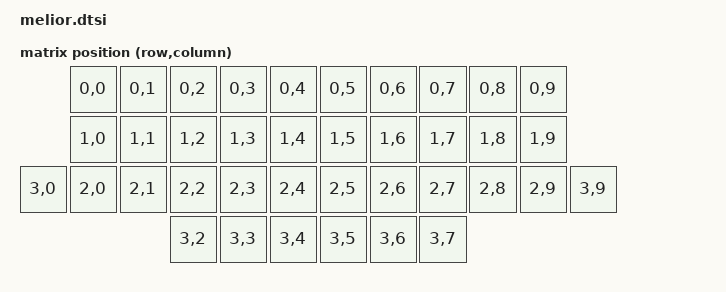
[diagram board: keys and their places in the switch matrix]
#include "melior-layouts.dtsi"
#include <input/processors.dtsi>
#include <dt-bindings/zmk/input_transform.h>
#include <dt-bindings/zmk/matrix_transform.h>
#include <physical_layouts.dtsi>

/ {
    default_transform: keymap_transform_0 {
        compatible = "zmk,matrix-transform";
        columns = <10>;
        rows = <4>;
//             | SW01  | SW02  | SW03  | SW04  | SW05  |  | SW05  | SW04  | SW03  | SW02  | SW01  |
//             | SW06  | SW07  | SW08  | SW09  | SW10  |  | SW10  | SW09  | SW08  | SW07  | SW06  | 
//      | SW16 | SW11  | SW12  | SW13  | SW14  | SW15  |  | SW15  | SW14  | SW13  | SW12  | SW11  | SW16  |
//                             | SW17  | SW18  | SW19  |  | SW19  | SW18  | SW17  | 
        map = <
                RC(0,0) RC(0,1) RC(0,2) RC(0,3) RC(0,4)    RC(0,5) RC(0,6) RC(0,7) RC(0,8) RC(0,9)
                RC(1,0) RC(1,1) RC(1,2) RC(1,3) RC(1,4)    RC(1,5) RC(1,6) RC(1,7) RC(1,8) RC(1,9)
        RC(3,0) RC(2,0) RC(2,1) RC(2,2) RC(2,3) RC(2,4)    RC(2,5) RC(2,6) RC(2,7) RC(2,8) RC(2,9) RC(3,9)
                                RC(3,2) RC(3,3) RC(3,4)    RC(3,5) RC(3,6) RC(3,7)         
        >;
    };
};

&default_layout {
    transform = <&default_transform>;        
};

// Input devices
/ {
    split_inputs {
        #address-cells = <1>;
        #size-cells = <0>;

        glidepoint_split_left: glidepoint_split_left@0 {
            compatible = "zmk,input-split";
            reg = <0>;
            status = "disabled";
        };

        glidepoint_split_right: glidepoint_split_right@1 {
            compatible = "zmk,input-split";
            reg = <1>; 
            status = "disabled";
        };
    };

    glidepoint_listener_left: glidepoint_listener_left {
        compatible = "zmk,input-listener";
        status = "disabled";
        device = <&glidepoint_split_left>;
        scroller {
            layers = <0 1 2 3 4>;
            input-processors = <
                &zip_xy_to_scroll_mapper
                &zip_scroll_scaler 1 5
                &zip_scroll_transform INPUT_TRANSFORM_X_INVERT
            >;
        };
    };
    
    glidepoint_listener_right: glidepoint_listener_right {
        compatible = "zmk,input-listener";
        status = "disabled";
        device = <&glidepoint_split_right>;
        movenent{
            layers = <0 1 2 3 4>;
            input-processors = <
                &zip_xy_scaler 100 50
            >;
        };
    };
};

